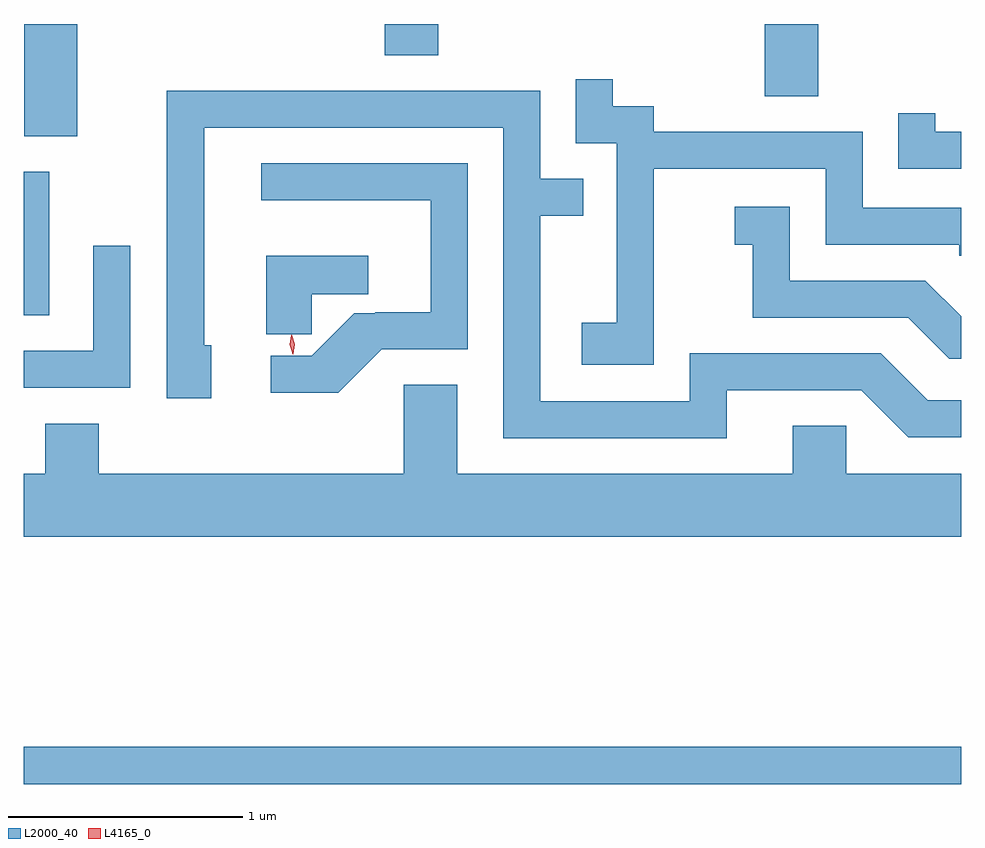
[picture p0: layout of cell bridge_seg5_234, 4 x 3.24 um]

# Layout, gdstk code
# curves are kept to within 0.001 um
import gdstk
lib = gdstk.Library(unit=1e-6, precision=1e-09)
def R(c, l, rs):  # rectangles x0, y0, x1, y1
    for r in rs: c.add(gdstk.rectangle(r[:2], r[2:], *l))
def P(c, l, *ps):  # polygons
    for p in ps: c.add(gdstk.Polygon(p, *l))
L2000_40 = (2000, 40)
L4165_0 = (4165, 0)

bridge_seg5_234 = lib.new_cell('bridge_seg5_234')
R(bridge_seg5_234, L2000_40, [(885.14,1493.481,889.14,1493.639), (885.14,1495.481,885.249,1496.094), (885.141,1496.246,885.369,1496.724), (888.301,1496.416,888.529,1496.724), (886.681,1496.591,886.909,1496.724)])
P(bridge_seg5_234, L2000_40, [(887.829,1496.106),(888.561,1496.106),(888.561,1495.781),(889.131,1495.781),(889.131,1495.736),(889.14,1495.736),(889.14,1495.939),(888.719,1495.939),(888.719,1496.264),(887.829,1496.264),(887.829,1496.374),(887.654,1496.374),(887.654,1496.488),(887.496,1496.488),(887.496,1496.216),(887.671,1496.216),(887.671,1495.449),(887.521,1495.449),(887.521,1495.271),(887.829,1495.271)],
  [(888.139,1495.161),(888.714,1495.161),(888.914,1494.961),(889.14,1494.961),(889.14,1495.119),(888.997,1495.119),(888.797,1495.319),(887.981,1495.319),(887.981,1495.114),(887.344,1495.114),(887.344,1495.906),(887.528,1495.906),(887.528,1496.064),(887.344,1496.064),(887.344,1496.439),(885.751,1496.439),(885.751,1495.126),(885.939,1495.126),(885.939,1495.354),(885.909,1495.354),(885.909,1496.281),(887.186,1496.281),(887.186,1494.956),(888.139,1494.956)],
  [(889.14,1496.264),(889.029,1496.264),(889.029,1496.343),(888.871,1496.343),(888.871,1496.106),(889.14,1496.106)],
  [(886.667,1495.336),(887.034,1495.336),(887.034,1496.129),(886.153,1496.129),(886.153,1495.971),(886.876,1495.971),(886.876,1495.494),(886.639,1495.493),(886.639,1495.49),(886.55,1495.49),(886.369,1495.309),(886.193,1495.309),(886.193,1495.151),(886.482,1495.151)],
  [(889.14,1495.476),(888.987,1495.629),(888.409,1495.629),(888.409,1495.944),(888.173,1495.944),(888.173,1495.781),(888.251,1495.781),(888.251,1495.471),(888.914,1495.471),(889.089,1495.296),(889.14,1495.296)],
  [(885.594,1495.778),(885.436,1495.778),(885.436,1495.329),(885.14,1495.329),(885.14,1495.171),(885.594,1495.171)],
  [(886.369,1495.571),(886.609,1495.571),(886.609,1495.735),(886.175,1495.735),(886.175,1495.401),(886.369,1495.401)],
  [(889.14,1494.804),(888.649,1494.804),(888.649,1495.009),(888.421,1495.009),(888.421,1494.804),(886.989,1494.804),(886.989,1495.184),(886.761,1495.184),(886.761,1494.804),(885.459,1494.804),(885.459,1495.019),(885.231,1495.019),(885.231,1494.804),(885.14,1494.804),(885.14,1494.536),(889.14,1494.536)])
P(bridge_seg5_234, L4165_0, [(886.287,1495.316),(886.287,1495.317),(886.274,1495.356),(886.281,1495.396),(886.282,1495.396),(886.282,1495.396),(886.294,1495.357),(886.288,1495.317)],
  [(886.288,1495.314),(886.276,1495.356),(886.283,1495.398),(886.284,1495.398),(886.284,1495.398),(886.296,1495.357),(886.289,1495.314),(886.289,1495.314)])

lib.write_gds('bridge_seg5_234.gds')
